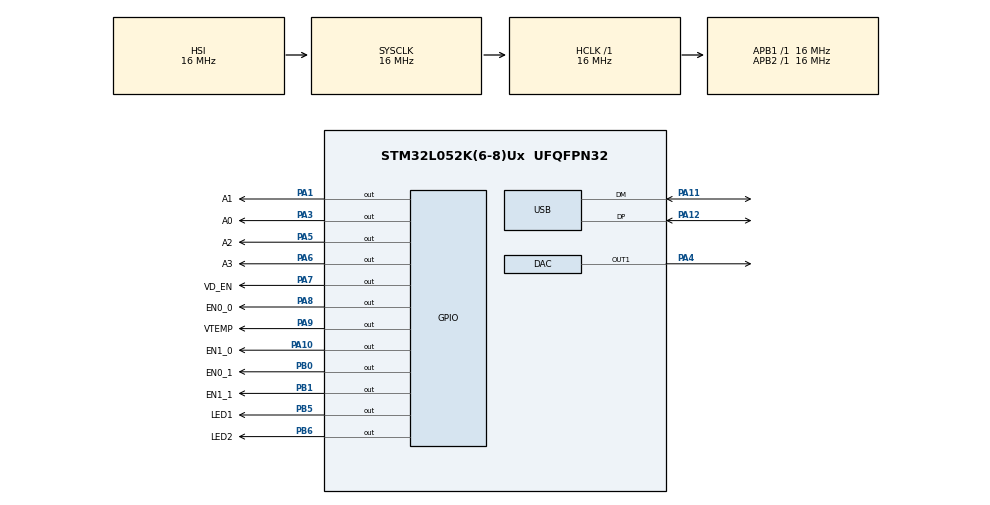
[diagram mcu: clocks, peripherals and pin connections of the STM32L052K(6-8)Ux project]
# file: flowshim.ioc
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Mcu.Family=STM32L0
Mcu.Name=STM32L052K(6-8)Ux
Mcu.Package=UFQFPN32
NVIC.USB_IRQn=true\:0\:0\:false\:false\:true\:false\:true\:true
PA1.GPIO_Label=A1
PA1.Signal=GPIO_Output
PA10.GPIO_Label=EN1_0
PA10.Signal=GPIO_Output
PA11.Mode=Device
PA11.Signal=USB_DM
PA12.Mode=Device
PA12.Signal=USB_DP
PA3.GPIO_Label=A0
PA3.Signal=GPIO_Output
PA4.Signal=COMP_DAC1_group
PA5.GPIO_Label=A2
PA5.Signal=GPIO_Output
PA6.GPIO_Label=A3
PA6.Signal=GPIO_Output
PA7.GPIO_Label=VD_EN
PA7.Signal=GPIO_Output
PA8.GPIO_Label=EN0_0
PA8.Signal=GPIO_Output
PA9.GPIO_Label=VTEMP
PA9.GPIO_ModeDefaultOutputPP=GPIO_MODE_OUTPUT_OD
PA9.GPIO_PuPd=GPIO_PULLUP
PA9.PinState=GPIO_PIN_SET
PA9.Signal=GPIO_Output
PB0.GPIO_Label=EN0_1
PB0.Signal=GPIO_Output
PB1.GPIO_Label=EN1_1
PB1.Signal=GPIO_Output
PB5.GPIO_Label=LED1
PB5.PinState=GPIO_PIN_RESET
PB5.Signal=GPIO_Output
PB6.GPIO_Label=LED2
PB6.Signal=GPIO_Output
ProjectManager.HeapSize=0x200
ProjectManager.StackSize=0x400
ProjectManager.TargetToolchain=STM32CubeIDE
RCC.AHBFreq_Value=16000000
RCC.APB1Freq_Value=16000000
RCC.APB1TimFreq_Value=16000000
RCC.APB2Freq_Value=16000000
RCC.APB2TimFreq_Value=16000000
RCC.HCLKFreq_Value=16000000
RCC.HSI16_VALUE=16000000
RCC.HSI48MClockSelection=RCC_USBCLKSOURCE_HSI48
RCC.HSI48_VALUE=48000000
RCC.HSI_VALUE=16000000
RCC.LSE_VALUE=32768
RCC.MSI_VALUE=2097000
RCC.SYSCLKFreq_VALUE=16000000
RCC.SYSCLKSource=RCC_SYSCLKSOURCE_HSI
RCC.VCOOutputFreq_Value=48000000
SH.COMP_DAC1_group.0=DAC_OUT1,DAC_OUT1
TIM6.Prescaler=0
USB_DEVICE.CLASS_NAME_FS=CDC
USB_DEVICE.VirtualMode=Cdc
USB_DEVICE.VirtualModeFS=Cdc_FS
VP_TIM6_VS_ClockSourceINT.Mode=Enable_Timer
VP_USB_DEVICE_VS_USB_DEVICE_CDC_FS.Mode=CDC_FS
board=custom

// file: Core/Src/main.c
/* USER CODE BEGIN Header */
/**
  ******************************************************************************
  * @file           : main.c
  * @brief          : Main program body
  ******************************************************************************
  * @attention
  *
  * Copyright (c) 2026 STMicroelectronics.
  * All rights reserved.
  *
  * This software is licensed under terms that can be found in the LICENSE file
  * in the root directory of this software component.
  * If no LICENSE file comes with this software, it is provided AS-IS.
  *
  ******************************************************************************
  */
/* USER CODE END Header */
#include "main.h"
#include "usb_device.h"

/* USER CODE BEGIN Includes */
#include "usbd_cdc_if.h"
#include <stdarg.h>
#include <stdio.h>
#include <string.h>
#include "tmp11826.h"
#include "heat_driver.h"
/* USER CODE END Includes */

DAC_HandleTypeDef hdac;

TIM_HandleTypeDef htim6;

/* USER CODE BEGIN PV */

int16_t htemps[50];

/* USER CODE END PV */

void SystemClock_Config(void);
static void MX_GPIO_Init(void);
static void MX_TIM6_Init(void);
static void MX_DAC_Init(void);

int main(void)
{

  /* MCU Configuration--------------------------------------------------------*/

  /* Reset of all peripherals, Initializes the Flash interface and the Systick. */
  HAL_Init();

  /* Configure the system clock */
  SystemClock_Config();

  /* Initialize all configured peripherals */
  MX_GPIO_Init();
  MX_USB_DEVICE_Init();
  MX_TIM6_Init();
  MX_DAC_Init();
  /* USER CODE BEGIN 2 */
  HAL_GPIO_WritePin(LED2_GPIO_Port, LED2_Pin, GPIO_PIN_SET);
  HAL_GPIO_WritePin(VTEMP_GPIO_Port, VTEMP_Pin, GPIO_PIN_SET);
  tmp11826_init();
  HAL_DAC_Start(&hdac,DAC_CHANNEL_1);
//  onewire_search();

  init_heater_driver();
  array_off();
  enable_vd();

  /* USER CODE END 2 */

  /* Infinite loop */
  while (1)
  {

    /* USER CODE BEGIN 3 */
//	  step();
	  HAL_Delay(1000);
	  array_off();
	  set_heater(13, 3500);
//	  set_heater(14, 3500);
//	  read_all_temps(htemps);
//	  for(int i=0; i <50; i++){
//		  debug_printf("%d,", htemps[i]/10);
//	  }
//	  debug_printf("\n\r");

	  /////////////////////////////////////////////
// //Code for mapping heaters
//	  for(int t = 0; t < 50; t++){
//		  onewire_search();
//		  find_sensor(t+1);
//		  int max_temp = 0;
//		  uint8_t max_temp_index = 0;
//		  debug_printf("Element %d\n\r",t+1);
//
//		  for(int i=0; i <50; i++){
//			  if(htemps[i] > max_temp){
//				  max_temp = htemps[i];
//				  max_temp_index = i;
//			  }
//			  debug_printf("%d, ", htemps[i]/100);
//		  }
//		  debug_printf("\n\r Hottest sensor: %d\n\r", max_temp_index + 1);
//		  HAL_Delay(10000);
//	  }
	  ////////////////////////////////////////////////

  }
  /* USER CODE END 3 */
}

void SystemClock_Config(void)
{
  RCC_OscInitTypeDef RCC_OscInitStruct = {0};
  RCC_ClkInitTypeDef RCC_ClkInitStruct = {0};
  RCC_PeriphCLKInitTypeDef PeriphClkInit = {0};

  /** Configure the main internal regulator output voltage
  */
  __HAL_PWR_VOLTAGESCALING_CONFIG(PWR_REGULATOR_VOLTAGE_SCALE1);

  /** Initializes the RCC Oscillators according to the specified parameters
  * in the RCC_OscInitTypeDef structure.
  */
  RCC_OscInitStruct.OscillatorType = RCC_OSCILLATORTYPE_HSI|RCC_OSCILLATORTYPE_HSI48;
  RCC_OscInitStruct.HSIState = RCC_HSI_ON;
  RCC_OscInitStruct.HSICalibrationValue = RCC_HSICALIBRATION_DEFAULT;
  RCC_OscInitStruct.HSI48State = RCC_HSI48_ON;
  RCC_OscInitStruct.PLL.PLLState = RCC_PLL_NONE;
  if (HAL_RCC_OscConfig(&RCC_OscInitStruct) != HAL_OK)
  {
    Error_Handler();
  }

  /** Initializes the CPU, AHB and APB buses clocks
  */
  RCC_ClkInitStruct.ClockType = RCC_CLOCKTYPE_HCLK|RCC_CLOCKTYPE_SYSCLK
                              |RCC_CLOCKTYPE_PCLK1|RCC_CLOCKTYPE_PCLK2;
  RCC_ClkInitStruct.SYSCLKSource = RCC_SYSCLKSOURCE_HSI;
  RCC_ClkInitStruct.AHBCLKDivider = RCC_SYSCLK_DIV1;
  RCC_ClkInitStruct.APB1CLKDivider = RCC_HCLK_DIV1;
  RCC_ClkInitStruct.APB2CLKDivider = RCC_HCLK_DIV1;

  if (HAL_RCC_ClockConfig(&RCC_ClkInitStruct, FLASH_LATENCY_0) != HAL_OK)
  {
    Error_Handler();
  }
  PeriphClkInit.PeriphClockSelection = RCC_PERIPHCLK_USB;
  PeriphClkInit.UsbClockSelection = RCC_USBCLKSOURCE_HSI48;
  if (HAL_RCCEx_PeriphCLKConfig(&PeriphClkInit) != HAL_OK)
  {
    Error_Handler();
  }
}

static void MX_DAC_Init(void)
{

  DAC_ChannelConfTypeDef sConfig = {0};

  /** DAC Initialization
  */
  hdac.Instance = DAC;
  if (HAL_DAC_Init(&hdac) != HAL_OK)
  {
    Error_Handler();
  }

  /** DAC channel OUT1 config
  */
  sConfig.DAC_Trigger = DAC_TRIGGER_NONE;
  sConfig.DAC_OutputBuffer = DAC_OUTPUTBUFFER_ENABLE;
  if (HAL_DAC_ConfigChannel(&hdac, &sConfig, DAC_CHANNEL_1) != HAL_OK)
  {
    Error_Handler();
  }

}

static void MX_TIM6_Init(void)
{

  TIM_MasterConfigTypeDef sMasterConfig = {0};

  htim6.Instance = TIM6;
  htim6.Init.Prescaler = 0;
  htim6.Init.CounterMode = TIM_COUNTERMODE_UP;
  htim6.Init.Period = 65535;
  htim6.Init.AutoReloadPreload = TIM_AUTORELOAD_PRELOAD_DISABLE;
  if (HAL_TIM_Base_Init(&htim6) != HAL_OK)
  {
    Error_Handler();
  }
  sMasterConfig.MasterOutputTrigger = TIM_TRGO_RESET;
  sMasterConfig.MasterSlaveMode = TIM_MASTERSLAVEMODE_DISABLE;
  if (HAL_TIMEx_MasterConfigSynchronization(&htim6, &sMasterConfig) != HAL_OK)
  {
    Error_Handler();
  }

}

static void MX_GPIO_Init(void)
{
  GPIO_InitTypeDef GPIO_InitStruct = {0};

  /* GPIO Ports Clock Enable */
  __HAL_RCC_GPIOA_CLK_ENABLE();
  __HAL_RCC_GPIOB_CLK_ENABLE();

  /*Configure GPIO pin Output Level */
  HAL_GPIO_WritePin(GPIOA, A1_Pin|A0_Pin|A2_Pin|A3_Pin
                          |VD_EN_Pin|EN0_0_Pin|EN1_0_Pin, GPIO_PIN_RESET);

  /*Configure GPIO pin Output Level */
  HAL_GPIO_WritePin(GPIOB, EN0_1_Pin|EN1_1_Pin|LED1_Pin|LED2_Pin, GPIO_PIN_RESET);

  /*Configure GPIO pin Output Level */
  HAL_GPIO_WritePin(VTEMP_GPIO_Port, VTEMP_Pin, GPIO_PIN_SET);

  /*Configure GPIO pins : A1_Pin A0_Pin A2_Pin A3_Pin
                           VD_EN_Pin EN0_0_Pin EN1_0_Pin */
  GPIO_InitStruct.Pin = A1_Pin|A0_Pin|A2_Pin|A3_Pin
                          |VD_EN_Pin|EN0_0_Pin|EN1_0_Pin;
  GPIO_InitStruct.Mode = GPIO_MODE_OUTPUT_PP;
  GPIO_InitStruct.Pull = GPIO_NOPULL;
  GPIO_InitStruct.Speed = GPIO_SPEED_FREQ_LOW;
  HAL_GPIO_Init(GPIOA, &GPIO_InitStruct);

  /*Configure GPIO pins : EN0_1_Pin EN1_1_Pin LED1_Pin LED2_Pin */
  GPIO_InitStruct.Pin = EN0_1_Pin|EN1_1_Pin|LED1_Pin|LED2_Pin;
  GPIO_InitStruct.Mode = GPIO_MODE_OUTPUT_PP;
  GPIO_InitStruct.Pull = GPIO_NOPULL;
  GPIO_InitStruct.Speed = GPIO_SPEED_FREQ_LOW;
  HAL_GPIO_Init(GPIOB, &GPIO_InitStruct);

  /*Configure GPIO pin : VTEMP_Pin */
  GPIO_InitStruct.Pin = VTEMP_Pin;
  GPIO_InitStruct.Mode = GPIO_MODE_OUTPUT_OD;
  GPIO_InitStruct.Pull = GPIO_PULLUP;
  GPIO_InitStruct.Speed = GPIO_SPEED_FREQ_LOW;
  HAL_GPIO_Init(VTEMP_GPIO_Port, &GPIO_InitStruct);

}

/* USER CODE BEGIN 4 */
void debug_printf(const char *fmt, ...) {
#ifdef PRINT
    va_list args;
    va_start(args, fmt);
    vprintf(fmt, args);
    va_end(args);
    char buf[512];
    int len = vsnprintf(buf, sizeof(buf), fmt, args);
    if (len <= 0) return;
    if ((size_t)len >= sizeof(buf)) {
        len = sizeof(buf) - 1;
    }
    CDC_Transmit_FS((uint8_t *)buf, len);
#endif
}

void find_sensor(uint8_t element) {
	for(int i = 0; i < 15
	; i++){
		  HAL_Delay(1000);
		  array_off();
		  set_heater(element, 2500);
	}

	read_all_temps(htemps);
}

/* USER CODE END 4 */

void Error_Handler(void)
{
  __disable_irq();
  while (1)
  {
  }
}
